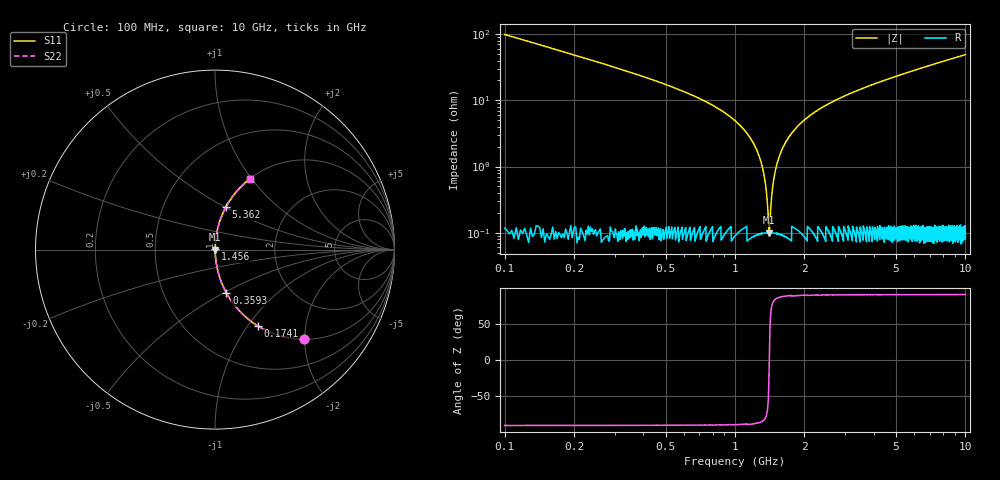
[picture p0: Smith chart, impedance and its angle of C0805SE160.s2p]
! AVX Thin Film Operation		Date: April 2012
! Description: Accu-P® Series, Thin Film, SMD, RF Capacitor
! Part Number: 08055J160FBTTR
!	100	MHz	-	10.05	GHz
!	Serial	Measurements
#	MHZ	S	MA	R	50
!	S11	S21	S12	S22
!	dB	Phase	dB	Phase	dB	Phase	dB	Phase
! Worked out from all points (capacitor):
!   4010 points, 100 MHz to 10 GHz, reference 50 ohm
!   read as one part in series: C = 16 pF near 149.4 MHz
!   lowest |Z| = 100 mohm at 1.409 GHz (marker M1)
!   series resonance near 1.408 GHz, so ESL is about 800 pH
!   S11 on the Smith chart (normalised r, x): 100 MHz: 1.00, -1.98; 174.1 MHz: 1.00, -1.13; 359.3 MHz: 1.00, -0.52; 1.456 GHz: 1.00, +0.01; 5.362 GHz: 1.00, +0.50; 10 GHz: 1.00, +0.98
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100  0.703 -45.3  0.71 44.7  0.71 44.7  0.703 -45.3
174.083  0.49 -60.6  0.871 29.3  0.871 29.3  0.49 -60.6
359.292  0.25 -75.3  0.967 14.5  0.967 14.5  0.25 -75.3
934.672  0.059 -85.6  0.997 3.4  0.997 3.4  0.059 -85.6
1151.983  0.029 -86.4  0.999 1.6  0.999 1.6  0.029 -86.4
1290.272  0.012 -84.7  0.999 0.7  0.999 0.7  0.012 -84.7
1334.722  0.00765 -82.1  0.999 0.4  0.999 0.4  0.00765 -82.1
1376.702  0.00336 -72.5  0.999 0.2  0.999 0.2  0.00336 -72.5
1408.805  0.001 2.7  0.999 -0.0  0.999 -0.0  0.001 2.7
1433.5  0.00269 68.1  0.999 -0.1  0.999 -0.1  0.00269 68.1
1455.725  0.00478 77.7  0.999 -0.3  0.999 -0.3  0.00478 77.7
1492.766  0.00828 82.6  0.999 -0.5  0.999 -0.5  0.00828 82.6
1549.563  0.014 85.0  0.999 -0.8  0.999 -0.8  0.014 85.0
1752.058  0.031 86.4  0.999 -1.8  0.999 -1.8  0.031 86.4
1999.002  0.05 86.0  0.998 -2.9  0.998 -2.9  0.05 86.0
2329.908  0.074 85.0  0.996 -4.2  0.996 -4.2  0.074 85.0
3401.646  0.14 81.6  0.989 -8.0  0.989 -8.0  0.14 81.6
5051.235  0.227 76.6  0.973 -13.1  0.973 -13.1  0.227 76.6
5362.385  0.243 75.7  0.969 -14.0  0.969 -14.0  0.243 75.7
6700.823  0.306 72.0  0.951 -17.8  0.951 -17.8  0.306 72.0
8350.412  0.377 67.7  0.925 -22.1  0.925 -22.1  0.377 67.7
10000  0.441 63.7  0.897 -26.2  0.897 -26.2  0.441 63.7
